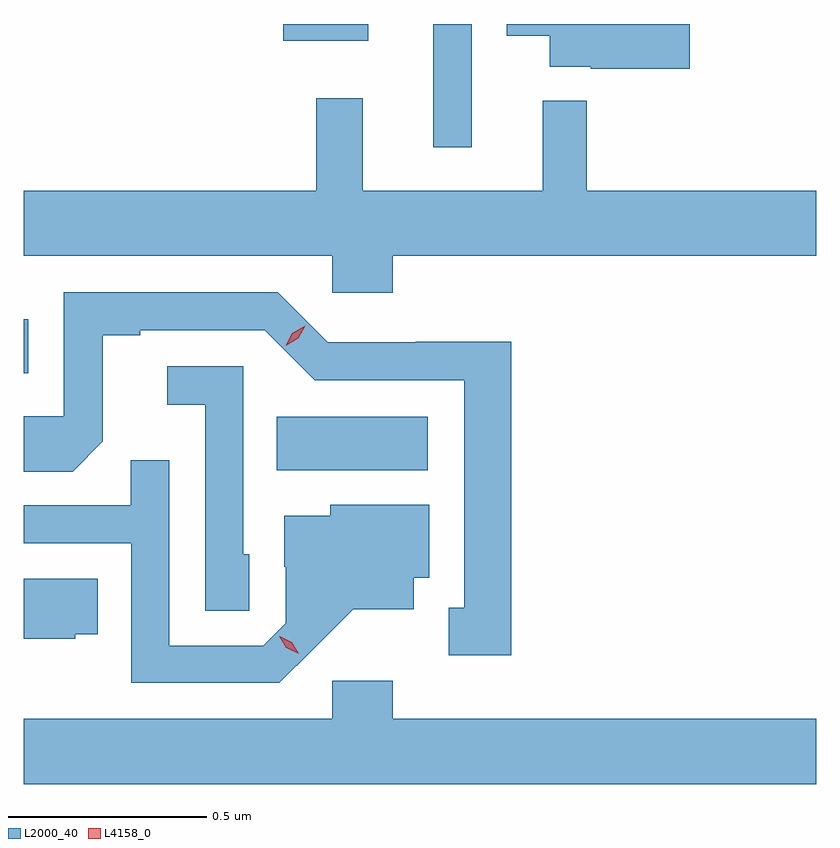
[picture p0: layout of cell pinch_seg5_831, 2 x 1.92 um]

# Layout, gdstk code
import gdstk
lib = gdstk.Library(unit=1e-6, precision=1e-09)
def R(c, l, rs):  # rectangles x0, y0, x1, y1
    for r in rs: c.add(gdstk.rectangle(r[:2], r[2:], *l))
def P(c, l, *ps):  # polygons
    for p in ps: c.add(gdstk.Polygon(p, *l))
L2000_40 = (2000, 40)
L4158_0 = (4158, 0)

pinch_seg5_831 = lib.new_cell('pinch_seg5_831')
R(pinch_seg5_831, L2000_40, [(783.166,874.868,783.547,875.002), (782.527,875.112,782.539,875.248), (783.56,875.682,783.657,875.993), (783.182,875.951,783.397,875.993)])
P(pinch_seg5_831, L2000_40, [(784.207,875.993),(783.746,875.993),(783.746,875.963),(783.854,875.963),(783.854,875.885),(783.958,875.885),(783.958,875.88),(784.207,875.88)],
  [(783.458,875.408),(784.527,875.408),(784.527,875.572),(783.948,875.572),(783.948,875.8),(783.836,875.8),(783.836,875.572),(783.383,875.572),(783.383,875.806),(783.265,875.806),(783.265,875.572),(782.527,875.572),(782.527,875.408),(783.306,875.408),(783.306,875.315),(783.458,875.315)],
  [(783.757,875.192),(783.516,875.192),(783.516,875.19),(783.294,875.19),(783.168,875.316),(782.628,875.316),(782.628,875.004),(782.527,875.004),(782.527,874.864),(782.651,874.864),(782.727,874.94),(782.727,875.208),(782.821,875.208),(782.821,875.22),(783.135,875.22),(783.261,875.094),(783.638,875.094),(783.638,874.521),(783.599,874.521),(783.599,874.401),(783.757,874.401)],
  [(783.096,874.656),(783.081,874.656),(783.081,875.13),(782.889,875.13),(782.889,875.033),(782.985,875.033),(782.985,874.513),(783.096,874.513)],
  [(783.256,874.415),(783.359,874.517),(783.511,874.517),(783.511,874.596),(783.55,874.596),(783.55,874.78),(783.3,874.78),(783.3,874.753),(783.185,874.753),(783.185,874.624),(783.189,874.624),(783.189,874.482),(783.132,874.425),(782.895,874.425),(782.895,874.892),(782.797,874.892),(782.797,874.779),(782.527,874.779),(782.527,874.683),(782.799,874.683),(782.799,874.332),(783.172,874.332)],
  [(782.658,874.454),(782.714,874.454),(782.714,874.594),(782.527,874.594),(782.527,874.442),(782.658,874.442)],
  [(784.527,874.24),(783.458,874.24),(783.458,874.336),(783.306,874.336),(783.306,874.24),(782.527,874.24),(782.527,874.076),(784.527,874.076)])
P(pinch_seg5_831, L4158_0, [(783.188,875.181),(783.188,875.181),(783.205,875.213),(783.237,875.232),(783.237,875.232),(783.237,875.232),(783.22,875.2),(783.188,875.181)],
  [(783.221,874.405),(783.19,874.42),(783.172,874.449),(783.172,874.449),(783.173,874.449),(783.204,874.434),(783.221,874.405),(783.221,874.405)])

lib.write_gds('pinch_seg5_831.gds')
